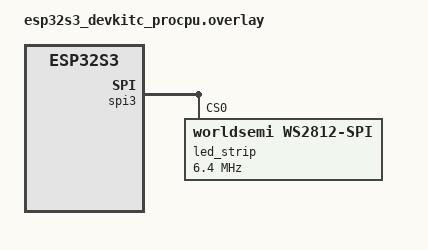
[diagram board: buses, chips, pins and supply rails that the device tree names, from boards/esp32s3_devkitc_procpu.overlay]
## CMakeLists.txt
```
# SPDX-License-Identifier: Apache-2.0
# Feasibility prototype (throwaway): blink the on-board WS2812 RGB LED.

cmake_minimum_required(VERSION 3.20.0)

find_package(Zephyr REQUIRED HINTS $ENV{ZEPHYR_BASE})
project(feasibility_blink)

target_sources(app PRIVATE src/main.cpp)
```

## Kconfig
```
# SPDX-License-Identifier: Apache-2.0
#
# Gives the application its own log level option (CONFIG_BLINK_LOG_LEVEL).
# Why: debug messages can then be switched on temporarily from prj.conf or
# debug.conf without touching the source. At the normal level they cost nothing,
# the compiler removes them.

module = BLINK
module-str = blink
source "subsys/logging/Kconfig.template.log_config"

source "Kconfig.zephyr"
```

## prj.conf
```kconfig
# C++23 without exceptions and RTTI (AGENTS.md). Fallback is C++20.
CONFIG_CPP=y
CONFIG_STD_CPP23=y
CONFIG_CPP_EXCEPTIONS=n
CONFIG_CPP_RTTI=n
# Zephyr's default is the minimal C++ library (no <array>, <span>, <expected>).
# The full libstdc++ of the SDK is needed for the standard headers (AGENTS.md).
CONFIG_GLIBCXX_LIBCPP=y

# WS2812 on the board is driven through SPI, see boards/*.overlay.
CONFIG_LED_STRIP=y
CONFIG_LOG=y
# Deferred logging: messages are buffered and a log thread prints them later.
# Default wake-up is 1000 ms, which makes the output arrive in bursts. 100 ms
# keeps it close to real time. The cost is one more wake-up per 100 ms
# (power consumption not measured).
CONFIG_LOG_PROCESS_THREAD_SLEEP_MS=100
```

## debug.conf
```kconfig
# Extra configuration for debug builds (used by the VS Code debug tasks).
# Why: -Os (the default) optimizes variables away and reorders lines, so the
# debugger often shows "<optimized out>". -Og keeps the code debuggable.
CONFIG_DEBUG_OPTIMIZATIONS=y
# Lets GDB list Zephyr threads.
CONFIG_DEBUG_THREAD_INFO=y
# Shows the LOG_DBG messages of the application (off in the normal build).
CONFIG_BLINK_LOG_LEVEL_DBG=y
```

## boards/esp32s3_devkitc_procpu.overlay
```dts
/*
 * WS2812B RGB LED of the Waveshare ESP32-S3-DEV-KIT-N8R8 on GPIO38.
 *
 * Why SPI: Zephyr 4.4.2 has no WS2812 driver for the ESP32 RMT peripheral.
 * The SPI driver is portable and costs 1 byte of RAM per data bit, which is
 * irrelevant for a single LED. Timing values follow the Zephyr sample
 * samples/drivers/led/led_strip (esp32s3_devkitc_procpu_spi.overlay).
 *
 * GPIO38 comes from the board schematic (net "GPIO38 RGB_CTRL", LED1 WS2812B,
 * doc/datasheets/esp32-s3-dev-kit-n8r8/).
 */

#include <zephyr/dt-bindings/led/led.h>

&spi3 {
	/* Workaround to support the WS2812 driver (same as in the Zephyr sample) */
	line-idle-low;

	led_strip: ws2812@0 {
		compatible = "worldsemi,ws2812-spi";

		reg = <0>; /* ignored, but needed by the SPI bindings */
		spi-max-frequency = <6400000>;

		chain-length = <1>;
		spi-cpha;
		spi-one-frame = <0xf0>; /* 11110000: 625 ns high, 625 ns low */
		spi-zero-frame = <0xc0>; /* 11000000: 312.5 ns high, 937.5 ns low */
		/* Measured on this board (see doc/feasibility.adoc): wire order is R, G, B,
		 * not the usual WS2812 G, R, B. */
		color-mapping = <LED_COLOR_ID_RED
				 LED_COLOR_ID_GREEN
				 LED_COLOR_ID_BLUE>;
	};
};

&pinctrl {
	spim3_default: spim3_default {
		group2 {
			pinmux = <SPIM3_MOSI_GPIO38>;
		};
	};
};

/ {
	aliases {
		led-strip = &led_strip;
	};
};
```

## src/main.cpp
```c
/*
 * Feasibility prototype (throwaway, no tests): blink the on-board RGB LED.
 * Cycles red, green, blue at low brightness (WS2812 is very bright).
 */

#include <array>

#include <zephyr/device.h>
#include <zephyr/drivers/led_strip.h>
#include <zephyr/kernel.h>
#include <zephyr/logging/log.h>

LOG_MODULE_REGISTER(blink, CONFIG_BLINK_LOG_LEVEL);

namespace
{

constexpr auto kStrip = DEVICE_DT_GET(DT_ALIAS(led_strip));
constexpr auto kNumPixels = DT_PROP(DT_ALIAS(led_strip), chain_length);
constexpr auto kPeriod = K_MSEC(500);
constexpr uint8_t kLevel = 16;

struct NamedColor {
	const char *name;
	led_rgb color;
};

constexpr auto kColors = std::to_array<NamedColor>({
	{"red",   {.r = kLevel, .g = 0,      .b = 0      }},
	{"-",     {.r = 0,      .g = 0,      .b = 0      }},
	{"green", {.r = 0,      .g = kLevel, .b = 0      }},
	{"-",     {.r = 0,      .g = 0,      .b = 0      }},
	{"blue",  {.r = 0,      .g = 0,      .b = kLevel }},
	{"-",     {.r = 0,      .g = 0,      .b = 0      }},
});

} // namespace

int main()
{
	if (!device_is_ready(kStrip)) {
		LOG_ERR("LED strip device %s is not ready", kStrip->name);
		return 0;
	}

	std::array<led_rgb, kNumPixels> pixels{};
	size_t index = 0;

	LOG_INF("Starting Hello World Blinker");
	while (true) {
		pixels.fill(kColors[index].color);
		const int rc = led_strip_update_rgb(kStrip, pixels.data(), pixels.size());
		if (rc != 0) {
			LOG_ERR("led_strip_update_rgb failed: %d", rc);
		}
		index = (index + 1) % kColors.size();
		k_sleep(kPeriod);
	}
	LOG_INF("Blinker Loop Unexpectedly Finished!");
}
```
